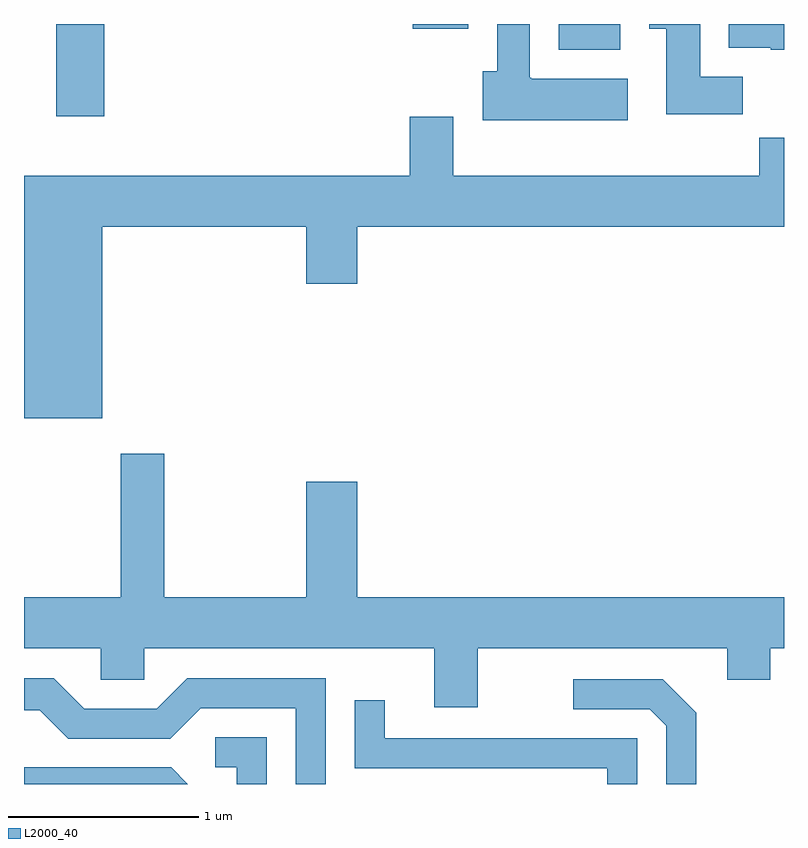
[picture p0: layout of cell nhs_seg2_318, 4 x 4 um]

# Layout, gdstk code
import gdstk
lib = gdstk.Library(unit=1e-6, precision=1e-09)
def R(c, l, rs):  # rectangles x0, y0, x1, y1
    for r in rs: c.add(gdstk.rectangle(r[:2], r[2:], *l))
def P(c, l, *ps):  # polygons
    for p in ps: c.add(gdstk.Polygon(p, *l))
L2000_40 = (2000, 40)

nhs_seg2_318 = lib.new_cell('nhs_seg2_318')
R(nhs_seg2_318, L2000_40, [(193.781,1073.316,194.034,1073.802), (196.426,1073.666,196.749,1073.802), (195.656,1073.776,195.949,1073.802)])
P(nhs_seg2_318, L2000_40, [(197.394,1073.524),(197.169,1073.524),(197.169,1073.802),(196.901,1073.802),(196.901,1073.776),(196.991,1073.776),(196.991,1073.326),(197.394,1073.326)],
  [(197.611,1073.802),(197.321,1073.802),(197.321,1073.676),(197.54,1073.676),(197.54,1073.666),(197.611,1073.666)],
  [(196.789,1073.514),(196.28,1073.514),(196.28,1073.52),(196.274,1073.52),(196.274,1073.802),(196.101,1073.802),(196.101,1073.554),(196.026,1073.554),(196.026,1073.296),(196.789,1073.296)],
  [(194.024,1072.736),(195.096,1072.736),(195.096,1072.436),(195.364,1072.436),(195.364,1072.736),(197.611,1072.736),(197.611,1073.204),(197.481,1073.204),(197.481,1073.004),(195.869,1073.004),(195.869,1073.314),(195.641,1073.314),(195.641,1073.004),(193.611,1073.004),(193.611,1071.726),(194.024,1071.726)],
  [(195.999,1070.516),(197.311,1070.516),(197.311,1070.351),(197.539,1070.351),(197.539,1070.516),(197.611,1070.516),(197.611,1070.784),(195.364,1070.784),(195.364,1071.394),(195.096,1071.394),(195.096,1070.784),(194.349,1070.784),(194.349,1071.539),(194.121,1071.539),(194.121,1070.784),(193.611,1070.784),(193.611,1070.516),(194.016,1070.516),(194.016,1070.351),(194.244,1070.351),(194.244,1070.516),(195.771,1070.516),(195.771,1070.206),(195.999,1070.206)],
  [(195.199,1070.359),(194.469,1070.359),(194.309,1070.199),(193.927,1070.199),(193.767,1070.359),(193.611,1070.359),(193.611,1070.191),(193.694,1070.191),(193.844,1070.041),(194.382,1070.041),(194.542,1070.201),(195.041,1070.201),(195.041,1069.802),(195.199,1069.802)],
  [(197.149,1070.177),(196.972,1070.354),(196.503,1070.354),(196.503,1070.196),(196.904,1070.196),(196.991,1070.109),(196.991,1069.802),(197.149,1069.802)],
  [(196.839,1070.044),(195.509,1070.044),(195.509,1070.243),(195.351,1070.243),(195.351,1069.886),(196.681,1069.886),(196.681,1069.802),(196.839,1069.802)],
  [(194.889,1070.049),(194.618,1070.049),(194.618,1069.891),(194.731,1069.891),(194.731,1069.802),(194.889,1069.802)],
  [(194.387,1069.889),(193.611,1069.889),(193.611,1069.802),(194.474,1069.802)])

lib.write_gds('nhs_seg2_318.gds')
